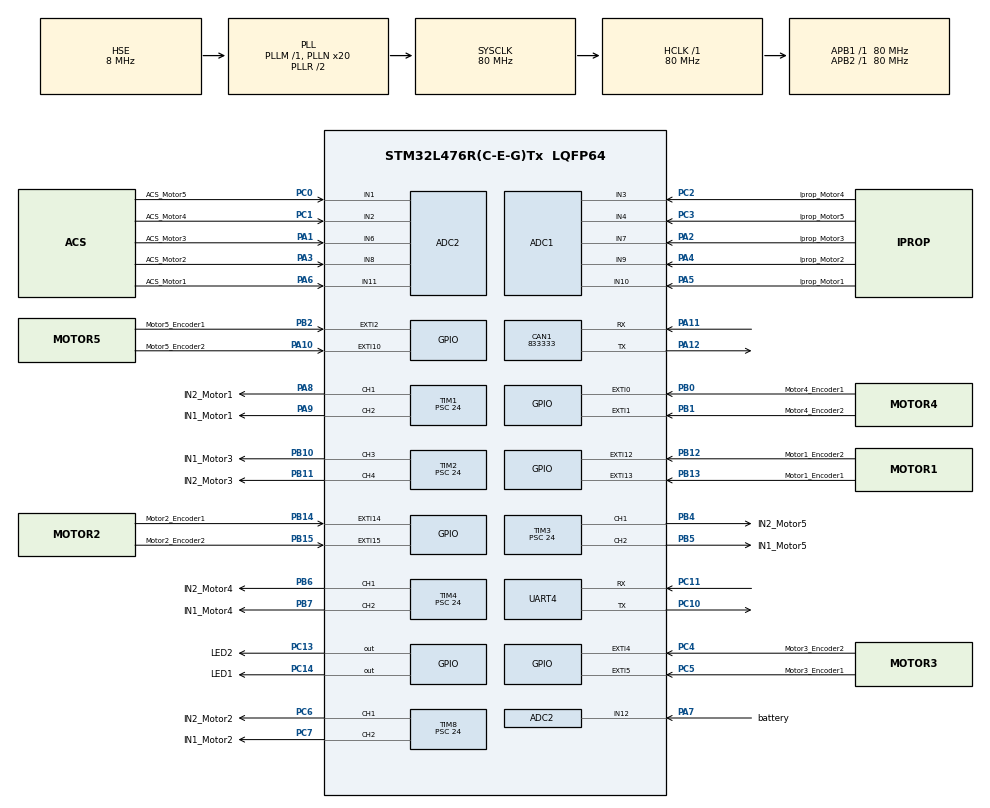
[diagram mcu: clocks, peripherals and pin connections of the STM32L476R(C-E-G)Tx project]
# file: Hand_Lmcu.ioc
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ADC1.Channel-0\#ChannelRegularConversion=ADC_CHANNEL_10
ADC1.Channel-1\#ChannelRegularConversion=ADC_CHANNEL_9
ADC1.Channel-2\#ChannelRegularConversion=ADC_CHANNEL_7
ADC1.Channel-3\#ChannelRegularConversion=ADC_CHANNEL_3
ADC1.Channel-4\#ChannelRegularConversion=ADC_CHANNEL_4
ADC1.ClockPrescaler=ADC_CLOCK_ASYNC_DIV8
ADC1.ContinuousConvMode=ENABLE
ADC1.DMAContinuousRequests=DISABLE
ADC1.DataAlign=ADC_DATAALIGN_RIGHT
ADC1.EnableAnalogWatchDog1=false
ADC1.NbrOfConversion=5
ADC1.NbrOfConversionFlag=1
ADC1.OffsetNumber-0\#ChannelRegularConversion=ADC_OFFSET_NONE
ADC1.OffsetNumber-1\#ChannelRegularConversion=ADC_OFFSET_NONE
ADC1.OffsetNumber-2\#ChannelRegularConversion=ADC_OFFSET_NONE
ADC1.OffsetNumber-3\#ChannelRegularConversion=ADC_OFFSET_NONE
ADC1.OffsetNumber-4\#ChannelRegularConversion=ADC_OFFSET_NONE
ADC1.Rank-0\#ChannelRegularConversion=1
ADC1.Rank-1\#ChannelRegularConversion=2
ADC1.Rank-2\#ChannelRegularConversion=3
ADC1.Rank-3\#ChannelRegularConversion=4
ADC1.Rank-4\#ChannelRegularConversion=5
ADC1.SamplingTime-0\#ChannelRegularConversion=ADC_SAMPLETIME_640CYCLES_5
ADC1.SamplingTime-1\#ChannelRegularConversion=ADC_SAMPLETIME_640CYCLES_5
ADC1.SamplingTime-2\#ChannelRegularConversion=ADC_SAMPLETIME_640CYCLES_5
ADC1.SamplingTime-3\#ChannelRegularConversion=ADC_SAMPLETIME_640CYCLES_5
ADC1.SamplingTime-4\#ChannelRegularConversion=ADC_SAMPLETIME_640CYCLES_5
ADC1.master=1
ADC2.Channel-0\#ChannelRegularConversion=ADC_CHANNEL_1
ADC2.Channel-1\#ChannelRegularConversion=ADC_CHANNEL_2
ADC2.Channel-2\#ChannelRegularConversion=ADC_CHANNEL_6
ADC2.Channel-3\#ChannelRegularConversion=ADC_CHANNEL_8
ADC2.Channel-4\#ChannelRegularConversion=ADC_CHANNEL_11
ADC2.Channel-5\#ChannelRegularConversion=ADC_CHANNEL_12
ADC2.ClockPrescaler=ADC_CLOCK_ASYNC_DIV8
ADC2.ContinuousConvMode=ENABLE
ADC2.DMAContinuousRequests=ENABLE
ADC2.NbrOfConversion=6
ADC2.NbrOfConversionFlag=1
ADC2.OffsetNumber-0\#ChannelRegularConversion=ADC_OFFSET_NONE
ADC2.OffsetNumber-1\#ChannelRegularConversion=ADC_OFFSET_NONE
ADC2.OffsetNumber-2\#ChannelRegularConversion=ADC_OFFSET_NONE
ADC2.OffsetNumber-3\#ChannelRegularConversion=ADC_OFFSET_NONE
ADC2.OffsetNumber-4\#ChannelRegularConversion=ADC_OFFSET_NONE
ADC2.OffsetNumber-5\#ChannelRegularConversion=ADC_OFFSET_NONE
ADC2.Rank-0\#ChannelRegularConversion=1
ADC2.Rank-1\#ChannelRegularConversion=2
ADC2.Rank-2\#ChannelRegularConversion=3
ADC2.Rank-3\#ChannelRegularConversion=4
ADC2.Rank-4\#ChannelRegularConversion=5
ADC2.Rank-5\#ChannelRegularConversion=6
ADC2.SamplingTime-0\#ChannelRegularConversion=ADC_SAMPLETIME_640CYCLES_5
ADC2.SamplingTime-1\#ChannelRegularConversion=ADC_SAMPLETIME_640CYCLES_5
ADC2.SamplingTime-2\#ChannelRegularConversion=ADC_SAMPLETIME_640CYCLES_5
ADC2.SamplingTime-3\#ChannelRegularConversion=ADC_SAMPLETIME_640CYCLES_5
ADC2.SamplingTime-4\#ChannelRegularConversion=ADC_SAMPLETIME_640CYCLES_5
ADC2.SamplingTime-5\#ChannelRegularConversion=ADC_SAMPLETIME_640CYCLES_5
CAN1.BS1=CAN_BS1_4TQ
CAN1.BS2=CAN_BS2_1TQ
CAN1.CalculateBaudRate=833333
CAN1.CalculateTimeBit=1200
CAN1.CalculateTimeQuantum=200.0
Dma.ADC2.0.Direction=DMA_PERIPH_TO_MEMORY
Dma.ADC2.0.Instance=DMA1_Channel2
Dma.ADC2.0.MemDataAlignment=DMA_MDATAALIGN_HALFWORD
Dma.ADC2.0.MemInc=DMA_MINC_ENABLE
Dma.ADC2.0.Mode=DMA_CIRCULAR
Dma.ADC2.0.PeriphDataAlignment=DMA_PDATAALIGN_HALFWORD
Dma.ADC2.0.PeriphInc=DMA_PINC_DISABLE
Dma.ADC2.0.Priority=DMA_PRIORITY_LOW
Dma.Request0=ADC2
Mcu.Family=STM32L4
Mcu.Name=STM32L476R(C-E-G)Tx
Mcu.Package=LQFP64
NVIC.DMA1_Channel2_IRQn=true\:0\:0\:false\:false\:true\:false\:true\:true
NVIC.EXTI0_IRQn=true\:0\:0\:true\:false\:true\:true\:true\:true
NVIC.EXTI15_10_IRQn=true\:0\:0\:true\:false\:true\:true\:true\:true
NVIC.EXTI1_IRQn=true\:0\:0\:true\:false\:true\:true\:true\:true
NVIC.EXTI2_IRQn=true\:0\:0\:true\:false\:true\:true\:true\:true
NVIC.EXTI4_IRQn=true\:0\:0\:true\:false\:true\:true\:true\:true
NVIC.EXTI9_5_IRQn=true\:0\:0\:true\:false\:true\:true\:true\:true
NVIC.PriorityGroup=NVIC_PRIORITYGROUP_3
NVIC.TIM7_IRQn=true\:1\:0\:true\:false\:true\:true\:true\:true
NVIC.UART4_IRQn=true\:0\:0\:false\:false\:true\:true\:true\:true
PA1.GPIO_Label=ACS_Motor3
PA1.Signal=ADCx_IN6
PA10.GPIO_Label=Motor5_Encoder2
PA10.GPIO_ModeDefaultEXTI=GPIO_MODE_IT_RISING_FALLING
PA10.Signal=GPXTI10
PA11.Mode=CAN_Activate
PA11.Signal=CAN1_RX
PA12.Mode=CAN_Activate
PA12.Signal=CAN1_TX
PA13\ (JTMS-SWDIO).Mode=Serial_Wire
PA13\ (JTMS-SWDIO).Signal=SYS_JTMS-SWDIO
PA14\ (JTCK-SWCLK).Mode=Serial_Wire
PA14\ (JTCK-SWCLK).Signal=SYS_JTCK-SWCLK
PA2.GPIO_Label=Iprop_Motor3
PA2.Signal=ADCx_IN7
PA3.GPIO_Label=ACS_Motor2
PA3.Signal=ADCx_IN8
PA4.GPIO_Label=Iprop_Motor2
PA4.Signal=ADCx_IN9
PA5.GPIO_Label=Iprop_Motor1
PA5.Signal=ADCx_IN10
PA6.GPIO_Label=ACS_Motor1
PA6.Signal=ADCx_IN11
PA7.GPIO_Label=battery
PA7.Signal=ADCx_IN12
PA8.GPIO_Label=IN2_Motor1
PA8.Signal=S_TIM1_CH1
PA9.GPIO_Label=IN1_Motor1
PA9.Signal=S_TIM1_CH2
PB0.GPIO_Label=Motor4_Encoder1
PB0.GPIO_ModeDefaultEXTI=GPIO_MODE_IT_RISING_FALLING
PB0.Signal=GPXTI0
PB1.GPIO_Label=Motor4_Encoder2
PB1.GPIO_ModeDefaultEXTI=GPIO_MODE_IT_RISING_FALLING
PB1.Signal=GPXTI1
PB10.GPIO_Label=IN1_Motor3
PB10.Signal=S_TIM2_CH3
PB11.GPIO_Label=IN2_Motor3
PB11.Signal=S_TIM2_CH4
PB12.GPIO_Label=Motor1_Encoder2
PB12.GPIO_ModeDefaultEXTI=GPIO_MODE_IT_RISING_FALLING
PB12.Signal=GPXTI12
PB13.GPIO_Label=Motor1_Encoder1
PB13.GPIO_ModeDefaultEXTI=GPIO_MODE_IT_RISING_FALLING
PB13.Signal=GPXTI13
PB14.GPIO_Label=Motor2_Encoder1
PB14.GPIO_ModeDefaultEXTI=GPIO_MODE_IT_RISING_FALLING
PB14.Signal=GPXTI14
PB15.GPIO_Label=Motor2_Encoder2
PB15.GPIO_ModeDefaultEXTI=GPIO_MODE_IT_RISING_FALLING
PB15.Signal=GPXTI15
PB2.GPIO_Label=Motor5_Encoder1
PB2.GPIO_ModeDefaultEXTI=GPIO_MODE_IT_RISING_FALLING
PB2.Signal=GPXTI2
PB4\ (NJTRST).GPIO_Label=IN2_Motor5
PB4\ (NJTRST).Signal=S_TIM3_CH1
PB5.GPIO_Label=IN1_Motor5
PB5.Signal=S_TIM3_CH2
PB6.GPIO_Label=IN2_Motor4
PB6.Signal=S_TIM4_CH1
PB7.GPIO_Label=IN1_Motor4
PB7.Signal=S_TIM4_CH2
PC0.GPIO_Label=ACS_Motor5
PC0.Signal=ADCx_IN1
PC1.GPIO_Label=ACS_Motor4
PC1.Signal=ADCx_IN2
PC10.GPIO_ModeDefaultPP=GPIO_MODE_AF_PP
PC10.GPIO_PuPd=GPIO_PULLUP
PC10.GPIO_Speed=GPIO_SPEED_FREQ_VERY_HIGH
PC10.Mode=Asynchronous
PC10.Signal=UART4_TX
PC11.GPIO_ModeDefaultPP=GPIO_MODE_AF_PP
PC11.GPIO_PuPd=GPIO_PULLUP
PC11.GPIO_Speed=GPIO_SPEED_FREQ_VERY_HIGH
PC11.Mode=Asynchronous
PC11.Signal=UART4_RX
PC13.GPIO_Label=LED2
PC13.Signal=GPIO_Output
PC14-OSC32_IN\ (PC14).GPIO_Label=LED1
PC14-OSC32_IN\ (PC14).Signal=GPIO_Output
PC2.GPIO_Label=Iprop_Motor4
PC2.Signal=ADCx_IN3
PC3.GPIO_Label=Iprop_Motor5
PC3.Signal=ADCx_IN4
PC4.GPIO_Label=Motor3_Encoder2
PC4.GPIO_ModeDefaultEXTI=GPIO_MODE_IT_RISING_FALLING
PC4.Signal=GPXTI4
PC5.GPIO_Label=Motor3_Encoder1
PC5.GPIO_ModeDefaultEXTI=GPIO_MODE_IT_RISING_FALLING
PC5.Signal=GPXTI5
PC6.GPIO_Label=IN2_Motor2
PC6.Signal=S_TIM8_CH1
PC7.GPIO_Label=IN1_Motor2
PC7.Signal=S_TIM8_CH2
PH0-OSC_IN\ (PH0).Mode=HSE-External-Clock-Source
PH0-OSC_IN\ (PH0).Signal=RCC_OSC_IN
ProjectManager.HeapSize=0x200
ProjectManager.StackSize=0x400
ProjectManager.TargetToolchain=STM32CubeIDE
RCC.ADCFreq_Value=8000000
RCC.AHBFreq_Value=80000000
RCC.APB1Freq_Value=80000000
RCC.APB1TimFreq_Value=80000000
RCC.APB2Freq_Value=80000000
RCC.APB2TimFreq_Value=80000000
RCC.CortexFreq_Value=80000000
RCC.HCLKFreq_Value=80000000
RCC.HSE_VALUE=8000000
RCC.HSI_VALUE=16000000
RCC.LSE_VALUE=32768
RCC.MSI_VALUE=4000000
RCC.PLLN=20
RCC.PLLSAI1R=RCC_PLLR_DIV8
RCC.PLLSourceVirtual=RCC_PLLSOURCE_HSE
RCC.SYSCLKFreq_VALUE=80000000
RCC.SYSCLKSource=RCC_SYSCLKSOURCE_PLLCLK
RCC.USBFreq_Value=32000000
RCC.VCOOutputFreq_Value=160000000
SH.ADCx_IN1.0=ADC2_IN1,IN1-Single-Ended
SH.ADCx_IN10.0=ADC1_IN10,IN10-Single-Ended
SH.ADCx_IN11.0=ADC2_IN11,IN11-Single-Ended
SH.ADCx_IN12.0=ADC2_IN12,IN12-Single-Ended
SH.ADCx_IN2.0=ADC2_IN2,IN2-Single-Ended
SH.ADCx_IN3.0=ADC1_IN3,IN3-Single-Ended
SH.ADCx_IN4.0=ADC1_IN4,IN4-Single-Ended
SH.ADCx_IN6.0=ADC2_IN6,IN6-Single-Ended
SH.ADCx_IN7.0=ADC1_IN7,IN7-Single-Ended
SH.ADCx_IN8.0=ADC2_IN8,IN8-Single-Ended
SH.ADCx_IN9.0=ADC1_IN9,IN9-Single-Ended
SH.S_TIM1_CH1.0=TIM1_CH1,PWM Generation1 CH1
SH.S_TIM1_CH2.0=TIM1_CH2,PWM Generation2 CH2
SH.S_TIM2_CH3.0=TIM2_CH3,PWM Generation3 CH3
SH.S_TIM2_CH4.0=TIM2_CH4,PWM Generation4 CH4
SH.S_TIM3_CH1.0=TIM3_CH1,PWM Generation1 CH1
SH.S_TIM3_CH2.0=TIM3_CH2,PWM Generation2 CH2
SH.S_TIM4_CH1.0=TIM4_CH1,PWM Generation1 CH1
SH.S_TIM4_CH2.0=TIM4_CH2,PWM Generation2 CH2
SH.S_TIM8_CH1.0=TIM8_CH1,PWM Generation1 CH1
SH.S_TIM8_CH2.0=TIM8_CH2,PWM Generation2 CH2
TIM1.Channel-PWM\ Generation1\ CH1=TIM_CHANNEL_1
TIM1.Channel-PWM\ Generation2\ CH2=TIM_CHANNEL_2
TIM1.OCFastMode_PWM-PWM\ Generation1\ CH1=TIM_OCFAST_ENABLE
TIM1.OCFastMode_PWM-PWM\ Generation2\ CH2=TIM_OCFAST_ENABLE
TIM1.Period=99
TIM1.Prescaler=24
TIM2.Channel-PWM\ Generation3\ CH3=TIM_CHANNEL_3
TIM2.Channel-PWM\ Generation4\ CH4=TIM_CHANNEL_4
TIM2.OCFastMode_PWM-PWM\ Generation3\ CH3=TIM_OCFAST_ENABLE
TIM2.OCFastMode_PWM-PWM\ Generation4\ CH4=TIM_OCFAST_ENABLE
TIM2.Period=99
TIM2.Prescaler=24
TIM3.Channel-PWM\ Generation1\ CH1=TIM_CHANNEL_1
TIM3.Channel-PWM\ Generation2\ CH2=TIM_CHANNEL_2
TIM3.OCFastMode_PWM-PWM\ Generation1\ CH1=TIM_OCFAST_ENABLE
TIM3.OCFastMode_PWM-PWM\ Generation2\ CH2=TIM_OCFAST_ENABLE
TIM3.Period=99
TIM3.Prescaler=24
TIM4.Channel-PWM\ Generation1\ CH1=TIM_CHANNEL_1
TIM4.Channel-PWM\ Generation2\ CH2=TIM_CHANNEL_2
TIM4.OCFastMode_PWM-PWM\ Generation1\ CH1=TIM_OCFAST_ENABLE
TIM4.OCFastMode_PWM-PWM\ Generation2\ CH2=TIM_OCFAST_ENABLE
TIM4.Period=99
TIM4.Prescaler=24
TIM7.Period=1000-1
TIM7.Prescaler=800-1
TIM8.Channel-PWM\ Generation1\ CH1=TIM_CHANNEL_1
TIM8.Channel-PWM\ Generation2\ CH2=TIM_CHANNEL_2
TIM8.OCFastMode_PWM-PWM\ Generation1\ CH1=TIM_OCFAST_ENABLE
TIM8.OCFastMode_PWM-PWM\ Generation2\ CH2=TIM_OCFAST_ENABLE
TIM8.OCIdleState_1=TIM_OCIDLESTATE_RESET
TIM8.OCIdleState_2=TIM_OCIDLESTATE_RESET
TIM8.Period=99
TIM8.Prescaler=24
UART4.DMADisableonRxErrorParam=UART_ADVFEATURE_DMA_ENABLEONRXERROR
VP_TIM7_VS_ClockSourceINT.Mode=Enable_Timer
board=custom

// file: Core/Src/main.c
/* USER CODE BEGIN Header */
/**
 ******************************************************************************
 * @file           : main.c
 * @brief          : Main program body
 ******************************************************************************
 * @attention
 *
 * Copyright (c) 2023 STMicroelectronics.
 * All rights reserved.
 *
 * This software is licensed under terms that can be found in the LICENSE file
 * in the root directory of this software component.
 * If no LICENSE file comes with this software, it is provided AS-IS.
 *
 ******************************************************************************
 */
/* USER CODE END Header */
#include "main.h"
#include "adc.h"
#include "can.h"
#include "dma.h"
#include "tim.h"
#include "usart.h"
#include "gpio.h"

/* USER CODE BEGIN Includes */
#include "motor_Control.h"
#include "ESP_UART.h"
#include <stdio.h>
#include <string.h>
#include "pid.h"
/* USER CODE END Includes */

/* USER CODE BEGIN PV */
char uartTX[50];
/* USER CODE END PV */

void SystemClock_Config(void);
void PeriphCommonClock_Config(void);

int main(void)
{

  /* MCU Configuration--------------------------------------------------------*/

  /* Reset of all peripherals, Initializes the Flash interface and the Systick. */
  HAL_Init();

  /* Configure the system clock */
  SystemClock_Config();

/* Configure the peripherals common clocks */
  PeriphCommonClock_Config();

  /* Initialize all configured peripherals */
  MX_GPIO_Init();
  MX_DMA_Init();
  MX_ADC1_Init();
  MX_ADC2_Init();
  MX_CAN1_Init();
  MX_TIM1_Init();
  MX_TIM2_Init();
  MX_TIM3_Init();
  MX_TIM4_Init();
  MX_TIM8_Init();
  MX_UART4_Init();
  MX_TIM7_Init();
  /* USER CODE BEGIN 2 */
	init_motor_controller();
	//start fingers calibration
	Fingers_Calibration();
	//feedback for end of calibration
	HAL_GPIO_WritePin(LED1_GPIO_Port, LED1_Pin,1);

  /* USER CODE END 2 */

  /* Infinite loop */
  /* USER CODE BEGIN WHILE */
	while (1)
	{
		Action_Motor_Video();
		//------------------------------| Thumb finger |----------------------------------------
		SetMotor(Thumb, &Fingers_Status.Thumb);
//		Control_Motor(Thumb, &Fingers_Status.Thumb);
		ADC_ReadCurrent_Thumb();
//		if(Fingers_Status.Thumb.Direction_motor==Stop)
//			Read_Encoder(Thumb, &Fingers_Status.Thumb);
		//------------------------------| Index finger |----------------------------------------
		ADC_ReadCurrent_Index();
		Control_Motor(Index,&Fingers_Status.Index);
		SetMotor(Index, &Fingers_Status.Index);
		if(Fingers_Status.Index.Direction_motor==Stop)
			Read_Encoder(Index, &Fingers_Status.Index);
		//------------------------------| Middle finger |----------------------------------------
		ADC_ReadCurrent_Middle();
		Control_Motor(Middle,&Fingers_Status.Middle);
		SetMotor(Middle, &Fingers_Status.Middle);
		if(Fingers_Status.Middle.Direction_motor==Stop)
			Read_Encoder(Middle, &Fingers_Status.Middle);
		//------------------------------| Ring finger |----------------------------------------
		SetMotor(Ring, &Fingers_Status.Ring);
//		Control_Motor(Ring,&Fingers_Status.Ring);
		ADC_ReadCurrent_Ring();
		if(Fingers_Status.Ring.Direction_motor==Stop)
			Read_Encoder(Ring, &Fingers_Status.Ring);
		//------------------------------| Pinky finger |----------------------------------------
		SetMotor(Pinky, &Fingers_Status.Pinky);
//		Control_Motor(Pinky,&Fingers_Status.Pinky);
		ADC_ReadCurrent_Pinky();
		if(Fingers_Status.Pinky.Direction_motor==Stop)
			Read_Encoder(Pinky, &Fingers_Status.Pinky);
		//------------------------------| Communication |----------------------------------------
		if(send_data_UART)
		{
			send_data_UART=0;
			uint16_t current_map[5];
			//map current pinky
			if(Fingers_Status.Pinky.Current<1772)
				current_map[Pinky]=((float)(1772-Fingers_Status.Pinky.Current)/(1772-1288))*1000;
			else
				current_map[Pinky]=((float)(Fingers_Status.Pinky.Current-1772)/(2298-1772))*1000;
			//map current ring
			if(Fingers_Status.Ring.Current<1781)
				current_map[Ring]=((float)(1781-Fingers_Status.Ring.Current)/(1781-1264))*1000;
			else
				current_map[Ring]=((float)(Fingers_Status.Ring.Current-1781)/(2243-1781))*1000;
			//map current middle
			if(Fingers_Status.Middle.Current<1750)
				current_map[Middle]=((float)(1750-Fingers_Status.Middle.Current)/(1750-1290))*1000;
			else
				current_map[Middle]=((float)(Fingers_Status.Middle.Current-1750)/(2291-1750))*1000;
			//map current index
			if(Fingers_Status.Index.Current<1688)
				current_map[Index]=((float)(1688-Fingers_Status.Index.Current)/(1688-1226))*1000;
			else
				current_map[Index]=((float)(Fingers_Status.Index.Current-1688)/(2239-1688))*1000;
			//map current thumb
			if(Fingers_Status.Thumb.Current<1701)
				current_map[Thumb]=((float)(1701-Fingers_Status.Thumb.Current)/(1701-1233))*1000;
			else
				current_map[Thumb]=((float)(Fingers_Status.Thumb.Current-1701)/(2279-1701))*1000;
			sprintf(uartTX,"{CP:%dCR:%dCM:%dCI:%dCT:%d}\n",current_map[Pinky],current_map[Ring],current_map[Middle],current_map[Index],current_map[Thumb]);
//			sprintf(uartTX,"{CP:%dCR:%dCM:%dCI:%dCT:%d}\n",Fingers_Status.Pinky.Current,Fingers_Status.Ring.Current,Fingers_Status.Middle.Current,Fingers_Status.Index.Current,Fingers_Status.Thumb.Current);
			HAL_UART_Transmit(&huart4, (uint8_t*)uartTX, strlen(uartTX), 5);
			HAL_Delay(1);
			sprintf(uartTX,"{PP:%dPR:%dPM:%dPI:%dPT:%d}\n",((uint16_t)(Fingers_Status.Pinky.position*100)),((uint16_t)(Fingers_Status.Ring.position*100)),((uint16_t)(Fingers_Status.Middle.position*100)),((uint16_t)(Fingers_Status.Index.position*100)),((uint16_t)(Fingers_Status.Thumb.position*100)));
			HAL_UART_Transmit(&huart4, (uint8_t*)uartTX, strlen(uartTX), 5);
		}

    /* USER CODE END WHILE */

	}
}

void SystemClock_Config(void)
{
  RCC_OscInitTypeDef RCC_OscInitStruct = {0};
  RCC_ClkInitTypeDef RCC_ClkInitStruct = {0};

  /** Configure the main internal regulator output voltage
  */
  if (HAL_PWREx_ControlVoltageScaling(PWR_REGULATOR_VOLTAGE_SCALE1) != HAL_OK)
  {
    Error_Handler();
  }

  /** Initializes the RCC Oscillators according to the specified parameters
  * in the RCC_OscInitTypeDef structure.
  */
  RCC_OscInitStruct.OscillatorType = RCC_OSCILLATORTYPE_HSE;
  RCC_OscInitStruct.HSEState = RCC_HSE_BYPASS;
  RCC_OscInitStruct.PLL.PLLState = RCC_PLL_ON;
  RCC_OscInitStruct.PLL.PLLSource = RCC_PLLSOURCE_HSE;
  RCC_OscInitStruct.PLL.PLLM = 1;
  RCC_OscInitStruct.PLL.PLLN = 20;
  RCC_OscInitStruct.PLL.PLLP = RCC_PLLP_DIV7;
  RCC_OscInitStruct.PLL.PLLQ = RCC_PLLQ_DIV2;
  RCC_OscInitStruct.PLL.PLLR = RCC_PLLR_DIV2;
  if (HAL_RCC_OscConfig(&RCC_OscInitStruct) != HAL_OK)
  {
    Error_Handler();
  }

  /** Initializes the CPU, AHB and APB buses clocks
  */
  RCC_ClkInitStruct.ClockType = RCC_CLOCKTYPE_HCLK|RCC_CLOCKTYPE_SYSCLK
                              |RCC_CLOCKTYPE_PCLK1|RCC_CLOCKTYPE_PCLK2;
  RCC_ClkInitStruct.SYSCLKSource = RCC_SYSCLKSOURCE_PLLCLK;
  RCC_ClkInitStruct.AHBCLKDivider = RCC_SYSCLK_DIV1;
  RCC_ClkInitStruct.APB1CLKDivider = RCC_HCLK_DIV1;
  RCC_ClkInitStruct.APB2CLKDivider = RCC_HCLK_DIV1;

  if (HAL_RCC_ClockConfig(&RCC_ClkInitStruct, FLASH_LATENCY_4) != HAL_OK)
  {
    Error_Handler();
  }
}

void PeriphCommonClock_Config(void)
{
  RCC_PeriphCLKInitTypeDef PeriphClkInit = {0};

  /** Initializes the peripherals clock
  */
  PeriphClkInit.PeriphClockSelection = RCC_PERIPHCLK_ADC;
  PeriphClkInit.AdcClockSelection = RCC_ADCCLKSOURCE_PLLSAI1;
  PeriphClkInit.PLLSAI1.PLLSAI1Source = RCC_PLLSOURCE_HSE;
  PeriphClkInit.PLLSAI1.PLLSAI1M = 1;
  PeriphClkInit.PLLSAI1.PLLSAI1N = 8;
  PeriphClkInit.PLLSAI1.PLLSAI1P = RCC_PLLP_DIV7;
  PeriphClkInit.PLLSAI1.PLLSAI1Q = RCC_PLLQ_DIV2;
  PeriphClkInit.PLLSAI1.PLLSAI1R = RCC_PLLR_DIV8;
  PeriphClkInit.PLLSAI1.PLLSAI1ClockOut = RCC_PLLSAI1_ADC1CLK;
  if (HAL_RCCEx_PeriphCLKConfig(&PeriphClkInit) != HAL_OK)
  {
    Error_Handler();
  }
}

/* USER CODE BEGIN 4 */
void HAL_TIM_PeriodElapsedCallback(TIM_HandleTypeDef* htim)
{
	if(htim->Instance==TIM7)
	{
	}
}
/* USER CODE END 4 */

void Error_Handler(void)
{
	__disable_irq();
	while (1)
	{
	}
}
